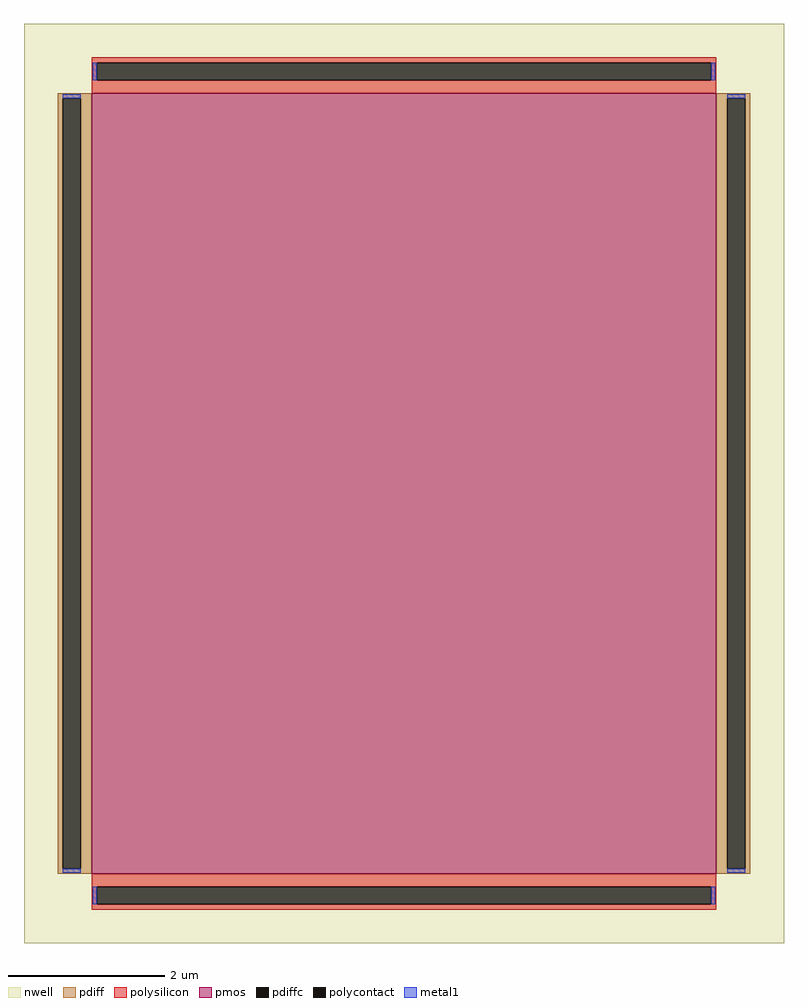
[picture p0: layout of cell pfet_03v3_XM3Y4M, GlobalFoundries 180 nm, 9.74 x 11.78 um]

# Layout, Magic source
magic
tech gf180mcuD
magscale 1 10
<< nwell >>
rect -974 -1178 974 1178
<< pmos >>
rect -800 -1000 800 1000
<< pdiff >>
rect -888 987 -800 1000
rect -888 -987 -875 987
rect -829 -987 -800 987
rect -888 -1000 -800 -987
rect 800 987 888 1000
rect 800 -987 829 987
rect 875 -987 888 987
rect 800 -1000 888 -987
<< pdiffc >>
rect -875 -987 -829 987
rect 829 -987 875 987
<< polysilicon >>
rect -800 1079 800 1092
rect -800 1033 -787 1079
rect 787 1033 800 1079
rect -800 1000 800 1033
rect -800 -1033 800 -1000
rect -800 -1079 -787 -1033
rect 787 -1079 800 -1033
rect -800 -1092 800 -1079
<< polycontact >>
rect -787 1033 787 1079
rect -787 -1079 787 -1033
<< metal1 >>
rect -798 1033 -787 1079
rect 787 1033 798 1079
rect -875 987 -829 998
rect -875 -998 -829 -987
rect 829 987 875 998
rect 829 -998 875 -987
rect -798 -1079 -787 -1033
rect 787 -1079 798 -1033
<< properties >>
string gencell pfet_03v3
string library gf180mcu
string parameters w 10 l 8 m 1 nf 1 diffcov 100 polycov 100 guard 0 glc 0 grc 0 gtc 0 gbc 0 tbcov 100 rlcov 100 topc 1 botc 1 poverlap 0 doverlap 1 lmin 0.28 wmin 0.22 class mosfet full_metal 0 compatible {pfet_03v3 pfet_05v0 pfet_06v0}
<< end >>
